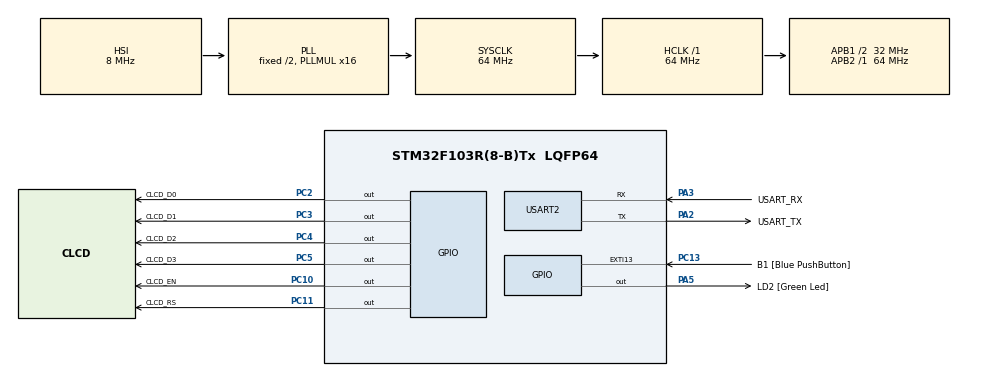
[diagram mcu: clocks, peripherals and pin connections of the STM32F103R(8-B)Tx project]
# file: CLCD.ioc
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Mcu.Family=STM32F1
Mcu.Name=STM32F103R(8-B)Tx
Mcu.Package=LQFP64
NVIC.EXTI15_10_IRQn=true\:0\:0\:false\:false\:true\:true\:true\:true
NVIC.PriorityGroup=NVIC_PRIORITYGROUP_4
PA13.GPIO_Label=TMS
PA13.Mode=Serial_Wire
PA13.Signal=SYS_JTMS-SWDIO
PA14.GPIO_Label=TCK
PA14.Mode=Serial_Wire
PA14.Signal=SYS_JTCK-SWCLK
PA2.GPIO_Label=USART_TX
PA2.GPIO_Mode=GPIO_MODE_AF_PP
PA2.GPIO_PuPd=GPIO_NOPULL
PA2.GPIO_Speed=GPIO_SPEED_FREQ_LOW
PA2.Mode=Asynchronous
PA2.Signal=USART2_TX
PA3.GPIO_Label=USART_RX
PA3.GPIO_Mode=GPIO_MODE_AF_PP
PA3.GPIO_PuPd=GPIO_NOPULL
PA3.GPIO_Speed=GPIO_SPEED_FREQ_LOW
PA3.Mode=Asynchronous
PA3.Signal=USART2_RX
PA5.GPIO_Label=LD2 [Green Led]
PA5.GPIO_ModeDefaultOutputPP=GPIO_MODE_OUTPUT_PP
PA5.GPIO_PuPd=GPIO_NOPULL
PA5.GPIO_Speed=GPIO_SPEED_FREQ_LOW
PA5.Signal=GPIO_Output
PB3.GPIO_Label=SWO
PB3.Signal=SYS_JTDO-TRACESWO
PC10.GPIO_Label=CLCD_EN
PC10.Signal=GPIO_Output
PC11.GPIO_Label=CLCD_RS
PC11.Signal=GPIO_Output
PC13-TAMPER-RTC.GPIO_Label=B1 [Blue PushButton]
PC13-TAMPER-RTC.GPIO_PuPd=GPIO_NOPULL
PC13-TAMPER-RTC.Signal=GPXTI13
PC14-OSC32_IN.Signal=RCC_OSC32_IN
PC15-OSC32_OUT.Signal=RCC_OSC32_OUT
PC2.GPIO_Label=CLCD_D0
PC2.Signal=GPIO_Output
PC3.GPIO_Label=CLCD_D1
PC3.Signal=GPIO_Output
PC4.GPIO_Label=CLCD_D2
PC4.Signal=GPIO_Output
PC5.GPIO_Label=CLCD_D3
PC5.Signal=GPIO_Output
PD0-OSC_IN.Signal=RCC_OSC_IN
PD1-OSC_OUT.Signal=RCC_OSC_OUT
ProjectManager.HeapSize=0x200
ProjectManager.StackSize=0x400
ProjectManager.TargetToolchain=STM32CubeIDE
RCC.AHBFreq_Value=64000000
RCC.APB1CLKDivider=RCC_HCLK_DIV2
RCC.APB1Freq_Value=32000000
RCC.APB1TimFreq_Value=64000000
RCC.APB2Freq_Value=64000000
RCC.APB2TimFreq_Value=64000000
RCC.HCLKFreq_Value=64000000
RCC.PLLMUL=RCC_PLL_MUL16
RCC.RTCClockSelection=RCC_RTCCLKSOURCE_LSE
RCC.SYSCLKFreq_VALUE=64000000
RCC.SYSCLKSource=RCC_SYSCLKSOURCE_PLLCLK
RCC.USBFreq_Value=64000000
USART2.VirtualMode=VM_ASYNC
board=NUCLEO-F103RB

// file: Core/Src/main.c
/* USER CODE BEGIN Header */
/**
  ******************************************************************************
  * @file           : main.c
  * @brief          : Main program body
  ******************************************************************************
  * @attention
  *
  * Copyright (c) 2025 STMicroelectronics.
  * All rights reserved.
  *
  * This software is licensed under terms that can be found in the LICENSE file
  * in the root directory of this software component.
  * If no LICENSE file comes with this software, it is provided AS-IS.
  *
  ******************************************************************************
  */
/* USER CODE END Header */
#include "main.h"

/* USER CODE BEGIN PD */
#include <stdio.h>
#include "clcd.h"
/* USER CODE END PD */

UART_HandleTypeDef huart2;

void SystemClock_Config(void);
static void MX_GPIO_Init(void);
static void MX_USART2_UART_Init(void);

int main(void)
{

  /* MCU Configuration--------------------------------------------------------*/

  /* Reset of all peripherals, Initializes the Flash interface and the Systick. */
  HAL_Init();

  /* Configure the system clock */
  SystemClock_Config();

  /* Initialize all configured peripherals */
  MX_GPIO_Init();
  MX_USART2_UART_Init();
  /* USER CODE BEGIN 2 */

  CLCD_Init(16, 2);
  CLCD_Puts(0, 0, "Hello!");
  CLCD_Puts(0, 1, "Good Day");
  HAL_Delay(2000);

  char texts[16] = { 0 };
  int counter = 0;

  CLCD_Clear();
  CLCD_Puts(0, 0, "Star");

  /* USER CODE END 2 */

  /* Infinite loop */
  while (1)
  {

    /* USER CODE BEGIN 3 */
	  sprintf(texts, "Count: %3d", counter);
	  CLCD_Puts(0, 1, texts);

	  if (counter > 999)
		  counter = 0;
	  else
		  counter++;
	  HAL_Delay(1000);
  }
  /* USER CODE END 3 */
}

void SystemClock_Config(void)
{
  RCC_OscInitTypeDef RCC_OscInitStruct = {0};
  RCC_ClkInitTypeDef RCC_ClkInitStruct = {0};

  /** Initializes the RCC Oscillators according to the specified parameters
  * in the RCC_OscInitTypeDef structure.
  */
  RCC_OscInitStruct.OscillatorType = RCC_OSCILLATORTYPE_HSI;
  RCC_OscInitStruct.HSIState = RCC_HSI_ON;
  RCC_OscInitStruct.HSICalibrationValue = RCC_HSICALIBRATION_DEFAULT;
  RCC_OscInitStruct.PLL.PLLState = RCC_PLL_ON;
  RCC_OscInitStruct.PLL.PLLSource = RCC_PLLSOURCE_HSI_DIV2;
  RCC_OscInitStruct.PLL.PLLMUL = RCC_PLL_MUL16;
  if (HAL_RCC_OscConfig(&RCC_OscInitStruct) != HAL_OK)
  {
    Error_Handler();
  }

  /** Initializes the CPU, AHB and APB buses clocks
  */
  RCC_ClkInitStruct.ClockType = RCC_CLOCKTYPE_HCLK|RCC_CLOCKTYPE_SYSCLK
                              |RCC_CLOCKTYPE_PCLK1|RCC_CLOCKTYPE_PCLK2;
  RCC_ClkInitStruct.SYSCLKSource = RCC_SYSCLKSOURCE_PLLCLK;
  RCC_ClkInitStruct.AHBCLKDivider = RCC_SYSCLK_DIV1;
  RCC_ClkInitStruct.APB1CLKDivider = RCC_HCLK_DIV2;
  RCC_ClkInitStruct.APB2CLKDivider = RCC_HCLK_DIV1;

  if (HAL_RCC_ClockConfig(&RCC_ClkInitStruct, FLASH_LATENCY_2) != HAL_OK)
  {
    Error_Handler();
  }
}

static void MX_USART2_UART_Init(void)
{

  huart2.Instance = USART2;
  huart2.Init.BaudRate = 115200;
  huart2.Init.WordLength = UART_WORDLENGTH_8B;
  huart2.Init.StopBits = UART_STOPBITS_1;
  huart2.Init.Parity = UART_PARITY_NONE;
  huart2.Init.Mode = UART_MODE_TX_RX;
  huart2.Init.HwFlowCtl = UART_HWCONTROL_NONE;
  huart2.Init.OverSampling = UART_OVERSAMPLING_16;
  if (HAL_UART_Init(&huart2) != HAL_OK)
  {
    Error_Handler();
  }

}

static void MX_GPIO_Init(void)
{
  GPIO_InitTypeDef GPIO_InitStruct = {0};

  /* GPIO Ports Clock Enable */
  __HAL_RCC_GPIOC_CLK_ENABLE();
  __HAL_RCC_GPIOD_CLK_ENABLE();
  __HAL_RCC_GPIOA_CLK_ENABLE();
  __HAL_RCC_GPIOB_CLK_ENABLE();

  /*Configure GPIO pin Output Level */
  HAL_GPIO_WritePin(GPIOC, CLCD_D0_Pin|CLCD_D1_Pin|CLCD_D2_Pin|CLCD_D3_Pin
                          |CLCD_EN_Pin|CLCD_RS_Pin, GPIO_PIN_RESET);

  /*Configure GPIO pin Output Level */
  HAL_GPIO_WritePin(LD2_GPIO_Port, LD2_Pin, GPIO_PIN_RESET);

  /*Configure GPIO pin : B1_Pin */
  GPIO_InitStruct.Pin = B1_Pin;
  GPIO_InitStruct.Mode = GPIO_MODE_IT_RISING;
  GPIO_InitStruct.Pull = GPIO_NOPULL;
  HAL_GPIO_Init(B1_GPIO_Port, &GPIO_InitStruct);

  /*Configure GPIO pins : CLCD_D0_Pin CLCD_D1_Pin CLCD_D2_Pin CLCD_D3_Pin
                           CLCD_EN_Pin CLCD_RS_Pin */
  GPIO_InitStruct.Pin = CLCD_D0_Pin|CLCD_D1_Pin|CLCD_D2_Pin|CLCD_D3_Pin
                          |CLCD_EN_Pin|CLCD_RS_Pin;
  GPIO_InitStruct.Mode = GPIO_MODE_OUTPUT_PP;
  GPIO_InitStruct.Pull = GPIO_NOPULL;
  GPIO_InitStruct.Speed = GPIO_SPEED_FREQ_LOW;
  HAL_GPIO_Init(GPIOC, &GPIO_InitStruct);

  /*Configure GPIO pin : LD2_Pin */
  GPIO_InitStruct.Pin = LD2_Pin;
  GPIO_InitStruct.Mode = GPIO_MODE_OUTPUT_PP;
  GPIO_InitStruct.Pull = GPIO_NOPULL;
  GPIO_InitStruct.Speed = GPIO_SPEED_FREQ_LOW;
  HAL_GPIO_Init(LD2_GPIO_Port, &GPIO_InitStruct);

  /* EXTI interrupt init*/
  HAL_NVIC_SetPriority(EXTI15_10_IRQn, 0, 0);
  HAL_NVIC_EnableIRQ(EXTI15_10_IRQn);

}

void Error_Handler(void)
{
  __disable_irq();
  while (1)
  {
  }
}
